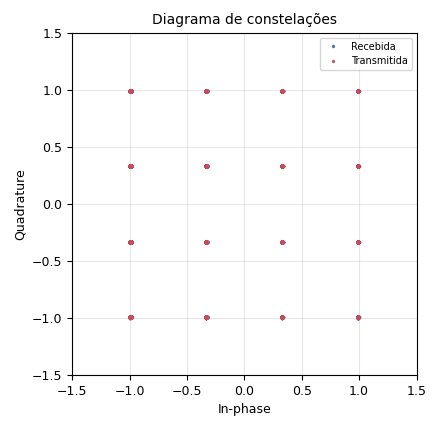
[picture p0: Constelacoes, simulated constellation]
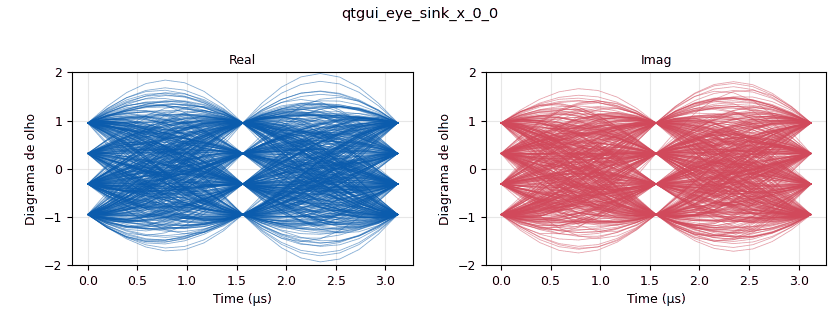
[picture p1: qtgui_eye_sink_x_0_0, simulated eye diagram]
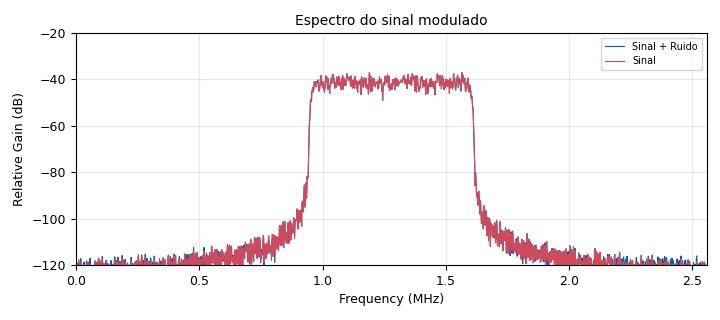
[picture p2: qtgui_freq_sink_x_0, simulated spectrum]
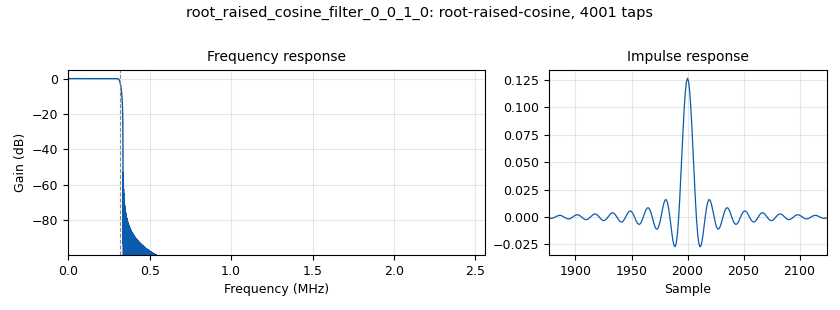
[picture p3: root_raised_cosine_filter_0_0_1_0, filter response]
options:
  parameters:
    author: Edson Porto da Silva
    copyright: '2023'
    generate_options: qt_gui
    id: top_block
    output_language: python
    title: Transmissão digital num canal AWGN
  states: {}

blocks:
- name: M
  id: variable
  parameters:
    value: '16'
  states: {}
- name: Pn
  id: variable_qtgui_range
  parameters:
    gui_hint: 3,0,1,2
    label: Potência de ruído (dBm)
    min_len: '400'
    start: '-100'
    step: '1'
    stop: '0'
    value: '-50'
  states: {}
- name: RRCrolloff
  id: variable
  parameters:
    value: '0.05'
  states: {}
- name: constellation
  id: variable_constellation
  parameters:
    precision: '8'
    type: 16qam
  states: {}
- name: fc
  id: variable_qtgui_range
  parameters:
    label: Frequencia da portadora
    min_len: '400'
    start: samp_rate/16
    step: '10'
    stop: samp_rate/2
    value: samp_rate/4
  states: {}
- name: gain
  id: variable_qtgui_range
  parameters:
    label: Ganho no sinal
    min_len: '400'
    start: '0.01'
    step: '0.01'
    stop: '100'
    value: '1'
  states: {}
- name: samp_rate
  id: variable
  parameters:
    value: '5120000'
  states: {}
- name: sps
  id: variable
  parameters:
    value: '8'
  states: {}
- name: Constelacoes
  id: qtgui_const_sink_x
  parameters:
    grid: 'True'
    gui_hint: 0,1,1,1
    label1: Recebida
    label2: Transmitida
    name: Diagrama de constelações
    nconnections: '2'
    size: '4096'
    type: complex
    update_time: '0.05'
    xmax: '1.5'
    xmin: '-1.5'
    ymax: '1.5'
    ymin: '-1.5'
  states: {}
- name: analog_agc_xx_0
  id: analog_agc_xx
  parameters:
    gain: '1.0'
    max_gain: '65536'
    rate: '1e-5'
    reference: '1'
    type: complex
  states: {}
- name: analog_agc_xx_0_0
  id: analog_agc_xx
  parameters:
    gain: '1.0'
    max_gain: '65536'
    rate: '1e-5'
    reference: '1'
    type: complex
  states: {}
- name: analog_noise_source_x_0
  id: analog_noise_source_x
  parameters:
    amp: numpy.sqrt(10**(Pn/10)*1e-3/2)
    noise_type: analog.GR_GAUSSIAN
    seed: '0'
    type: float
  states: {}
- name: analog_random_source_x_1
  id: analog_random_source_x
  parameters:
    max: '256'
    min: '0'
    num_samps: '10000'
    repeat: 'True'
    type: byte
  states: {}
- name: analog_sig_source_x_0
  id: analog_sig_source_x
  parameters:
    amp: '1'
    freq: fc
    offset: '0'
    phase: '0'
    samp_rate: samp_rate
    type: complex
    waveform: analog.GR_COS_WAVE
  states: {}
- name: analog_sig_source_x_0_0
  id: analog_sig_source_x
  parameters:
    amp: '1'
    freq: fc
    offset: '0'
    phase: '0'
    samp_rate: samp_rate
    type: complex
    waveform: analog.GR_COS_WAVE
  states: {}
- name: blocks_add_xx_0_0
  id: blocks_add_xx
  parameters:
    type: float
  states: {}
- name: blocks_add_xx_0_0_0
  id: blocks_add_xx
  parameters:
    type: float
  states: {}
- name: blocks_char_to_float_0
  id: blocks_char_to_float
  parameters:
    scale: '1'
  states: {}
- name: blocks_complex_to_imag_0
  id: blocks_complex_to_imag
  parameters: {}
  states: {}
- name: blocks_complex_to_imag_0_0
  id: blocks_complex_to_imag
  parameters: {}
  states: {}
- name: blocks_complex_to_imag_0_1
  id: blocks_complex_to_imag
  parameters: {}
  states: {}
- name: blocks_complex_to_mag_squared_2
  id: blocks_complex_to_mag_squared
  parameters: {}
  states: {}
- name: blocks_complex_to_mag_squared_2_0
  id: blocks_complex_to_mag_squared
  parameters: {}
  states: {}
- name: blocks_complex_to_mag_squared_2_0_0
  id: blocks_complex_to_mag_squared
  parameters: {}
  states: {}
- name: blocks_complex_to_real_0
  id: blocks_complex_to_real
  parameters: {}
  states: {}
- name: blocks_complex_to_real_0_0
  id: blocks_complex_to_real
  parameters: {}
  states: {}
- name: blocks_complex_to_real_0_0_0
  id: blocks_complex_to_real
  parameters: {}
  states: {}
- name: blocks_divide_xx_0
  id: blocks_divide_xx
  parameters:
    type: complex
  states: {}
- name: blocks_float_to_complex_0
  id: blocks_float_to_complex
  parameters: {}
  states: {}
- name: blocks_moving_average_xx_0
  id: blocks_moving_average_xx
  parameters:
    length: '20000'
    max_iter: '4000'
    scale: '1'
    type: float
  states: {}
- name: blocks_moving_average_xx_0_0
  id: blocks_moving_average_xx
  parameters:
    length: '20000'
    max_iter: '4000'
    scale: '1'
    type: float
  states: {}
- name: blocks_moving_average_xx_0_0_0
  id: blocks_moving_average_xx
  parameters:
    length: '20000'
    max_iter: '4000'
    scale: 1/20000
    type: float
  states: {}
- name: blocks_moving_average_xx_0_1
  id: blocks_moving_average_xx
  parameters:
    length: '1000000'
    max_iter: '50000'
    scale: 1/(8*1000000)
    type: float
  states: {}
- name: blocks_moving_average_xx_1
  id: blocks_moving_average_xx
  parameters:
    length: '1000'
    max_iter: '4000'
    scale: 1/1000
    type: complex
  states: {}
- name: blocks_multiply_const_vxx_0
  id: blocks_multiply_const_vxx
  parameters:
    const: numpy.log2(M)/1.2589
    type: float
  states: {}
- name: blocks_multiply_const_vxx_1
  id: blocks_multiply_const_vxx
  parameters:
    const: gain
    type: complex
  states: {}
- name: blocks_multiply_xx_0
  id: blocks_multiply_xx
  parameters:
    type: float
  states: {}
- name: blocks_multiply_xx_0_0
  id: blocks_multiply_xx
  parameters:
    type: float
  states: {}
- name: blocks_multiply_xx_0_1
  id: blocks_multiply_xx
  parameters:
    type: float
  states: {}
- name: blocks_multiply_xx_0_1_0
  id: blocks_multiply_xx
  parameters:
    type: float
  states: {}
- name: blocks_multiply_xx_1_0
  id: blocks_multiply_xx
  parameters:
    type: complex
  states: {}
- name: blocks_nlog10_ff_0_0
  id: blocks_nlog10_ff
  parameters:
    k: '0'
    n: '10'
  states: {}
- name: blocks_nlog10_ff_0_1
  id: blocks_nlog10_ff
  parameters:
    k: '0'
    n: '10'
  states: {}
- name: blocks_nlog10_ff_0_1_0
  id: blocks_nlog10_ff
  parameters:
    k: '30'
    n: '10'
  states: {}
- name: blocks_sub_xx_0
  id: blocks_sub_xx
  parameters:
    type: float
  states: {}
- name: blocks_sub_xx_0_0
  id: blocks_sub_xx
  parameters:
    type: complex
  states: {}
- name: blocks_throttle_0
  id: blocks_throttle
  parameters:
    samples_per_second: samp_rate
    type: complex
  states: {}
- name: blocks_transcendental_0
  id: blocks_transcendental
  parameters:
    name: tanh
    type: float
  states: {}
- name: blocks_xor_xx_0
  id: blocks_xor_xx
  parameters:
    type: byte
  states: {}
- name: digital_constellation_decoder_cb_0
  id: digital_constellation_decoder_cb
  parameters:
    constellation: constellation
  states: {}
- name: digital_constellation_decoder_cb_0_0
  id: digital_constellation_decoder_cb
  parameters:
    constellation: constellation
  states: {}
- name: digital_constellation_modulator_0
  id: digital_constellation_modulator
  parameters:
    constellation: constellation
    differential: 'True'
    excess_bw: RRCrolloff
    samples_per_symbol: sps
  states: {}
- name: qtgui_eye_sink_x_0_0
  id: qtgui_eye_sink_x
  parameters:
    color2: red
    ctrlpanel: 'True'
    entags: 'False'
    grid: 'True'
    gui_hint: 0,0,1,1
    label1: Real
    label2: Imag
    samp_per_symbol: sps
    size: 1024*8
    srate: samp_rate
    type: complex
    ylabel: Diagrama de olho
    ymax: '2'
    ymin: '-2'
  states: {}
- name: qtgui_freq_sink_x_0
  id: qtgui_freq_sink_x
  parameters:
    average: '0.2'
    bw: samp_rate
    fc: '0'
    fftsize: '4096'
    freqhalf: 'False'
    grid: 'True'
    gui_hint: 1,0,2,1
    label1: Sinal + Ruido
    label2: 'Sinal '
    name: Espectro do sinal modulado
    nconnections: '2'
    showports: 'True'
    type: float
    ymax: '-20'
    ymin: '-120'
  states: {}
- name: qtgui_number_sink_0
  id: qtgui_number_sink
  parameters:
    avg: '0.1'
    color1: ("white", "black")
    graph_type: qtgui.NUM_GRAPH_NONE
    gui_hint: 2,1,1,1
    label1: 'SNR por bit [Eb/N0] '
    label2: Nível de sinal (dBm)
    name: ''
    nconnections: '2'
    type: float
    unit1: dB
  states: {}
- name: qtgui_number_sink_1
  id: qtgui_number_sink
  parameters:
    graph_type: qtgui.NUM_GRAPH_NONE
    gui_hint: 1,1,1,1
    label1: BER
    max: '0.5'
    min: '0'
    name: Taxa de erro de bit [Bit error rate (BER)]
    type: float
  states: {}
- name: root_raised_cosine_filter_0_0_1_0
  id: root_raised_cosine_filter
  parameters:
    alpha: RRCrolloff
    decim: sps
    gain: '1'
    ntaps: '4001'
    samp_rate: samp_rate
    sym_rate: samp_rate/sps
    type: fir_filter_ccf
  states: {}
- name: root_raised_cosine_filter_0_0_1_0_0
  id: root_raised_cosine_filter
  parameters:
    alpha: RRCrolloff
    decim: '1'
    gain: '1'
    ntaps: '4001'
    samp_rate: samp_rate
    sym_rate: samp_rate/sps
    type: fir_filter_ccf
  states: {}
- name: root_raised_cosine_filter_0_0_1_0_1
  id: root_raised_cosine_filter
  parameters:
    alpha: RRCrolloff
    decim: sps
    gain: '1'
    ntaps: '4001'
    samp_rate: samp_rate
    sym_rate: samp_rate/sps
    type: fir_filter_ccf
  states: {}
- name: root_raised_cosine_filter_0_0_1_1
  id: root_raised_cosine_filter
  parameters:
    alpha: RRCrolloff
    decim: sps
    gain: '1'
    ntaps: '4001'
    samp_rate: samp_rate
    sym_rate: samp_rate/sps
    type: fir_filter_ccf
  states: {}

connections:
- [analog_agc_xx_0, '0', blocks_divide_xx_0, '1']
- [analog_agc_xx_0, '0', blocks_multiply_xx_1_0, '0']
- [analog_agc_xx_0_0, '0', Constelacoes, '1']
- [analog_agc_xx_0_0, '0', blocks_divide_xx_0, '0']
- [analog_agc_xx_0_0, '0', blocks_sub_xx_0_0, '1']
- [analog_agc_xx_0_0, '0', digital_constellation_decoder_cb_0_0, '0']
- [analog_noise_source_x_0, '0', blocks_add_xx_0_0_0, '0']
- [analog_random_source_x_1, '0', digital_constellation_modulator_0, '0']
- [analog_sig_source_x_0, '0', blocks_complex_to_imag_0, '0']
- [analog_sig_source_x_0, '0', blocks_complex_to_real_0_0, '0']
- [analog_sig_source_x_0_0, '0', blocks_complex_to_imag_0_1, '0']
- [analog_sig_source_x_0_0, '0', blocks_complex_to_real_0_0_0, '0']
- [blocks_add_xx_0_0, '0', blocks_add_xx_0_0_0, '1']
- [blocks_add_xx_0_0, '0', qtgui_freq_sink_x_0, '1']
- [blocks_add_xx_0_0_0, '0', blocks_multiply_xx_0_1, '0']
- [blocks_add_xx_0_0_0, '0', blocks_multiply_xx_0_1_0, '0']
- [blocks_add_xx_0_0_0, '0', qtgui_freq_sink_x_0, '0']
- [blocks_char_to_float_0, '0', blocks_transcendental_0, '0']
- [blocks_complex_to_imag_0, '0', blocks_multiply_xx_0, '0']
- [blocks_complex_to_imag_0_0, '0', blocks_multiply_xx_0, '1']
- [blocks_complex_to_imag_0_1, '0', blocks_multiply_xx_0_1, '1']
- [blocks_complex_to_mag_squared_2, '0', blocks_multiply_const_vxx_0, '0']
- [blocks_complex_to_mag_squared_2_0, '0', blocks_moving_average_xx_0_0, '0']
- [blocks_complex_to_mag_squared_2_0_0, '0', blocks_moving_average_xx_0_0_0, '0']
- [blocks_complex_to_real_0, '0', blocks_multiply_xx_0_0, '1']
- [blocks_complex_to_real_0_0, '0', blocks_multiply_xx_0_0, '0']
- [blocks_complex_to_real_0_0_0, '0', blocks_multiply_xx_0_1_0, '1']
- [blocks_divide_xx_0, '0', blocks_moving_average_xx_1, '0']
- [blocks_float_to_complex_0, '0', root_raised_cosine_filter_0_0_1_1, '0']
- [blocks_moving_average_xx_0, '0', blocks_nlog10_ff_0_0, '0']
- [blocks_moving_average_xx_0_0, '0', blocks_nlog10_ff_0_1, '0']
- [blocks_moving_average_xx_0_0_0, '0', blocks_nlog10_ff_0_1_0, '0']
- [blocks_moving_average_xx_0_1, '0', qtgui_number_sink_1, '0']
- [blocks_moving_average_xx_1, '0', blocks_multiply_xx_1_0, '1']
- [blocks_multiply_const_vxx_0, '0', blocks_moving_average_xx_0, '0']
- [blocks_multiply_const_vxx_1, '0', blocks_complex_to_imag_0_0, '0']
- [blocks_multiply_const_vxx_1, '0', blocks_complex_to_real_0, '0']
- [blocks_multiply_const_vxx_1, '0', root_raised_cosine_filter_0_0_1_0, '0']
- [blocks_multiply_const_vxx_1, '0', root_raised_cosine_filter_0_0_1_0_1, '0']
- [blocks_multiply_xx_0, '0', blocks_add_xx_0_0, '0']
- [blocks_multiply_xx_0_0, '0', blocks_add_xx_0_0, '1']
- [blocks_multiply_xx_0_1, '0', blocks_float_to_complex_0, '1']
- [blocks_multiply_xx_0_1_0, '0', blocks_float_to_complex_0, '0']
- [blocks_multiply_xx_1_0, '0', Constelacoes, '0']
- [blocks_multiply_xx_1_0, '0', blocks_sub_xx_0_0, '0']
- [blocks_multiply_xx_1_0, '0', digital_constellation_decoder_cb_0, '0']
- [blocks_nlog10_ff_0_0, '0', blocks_sub_xx_0, '1']
- [blocks_nlog10_ff_0_1, '0', blocks_sub_xx_0, '0']
- [blocks_nlog10_ff_0_1_0, '0', qtgui_number_sink_0, '1']
- [blocks_sub_xx_0, '0', qtgui_number_sink_0, '0']
- [blocks_sub_xx_0_0, '0', blocks_complex_to_mag_squared_2, '0']
- [blocks_throttle_0, '0', blocks_multiply_const_vxx_1, '0']
- [blocks_throttle_0, '0', root_raised_cosine_filter_0_0_1_0_0, '0']
- [blocks_transcendental_0, '0', blocks_moving_average_xx_0_1, '0']
- [blocks_xor_xx_0, '0', blocks_char_to_float_0, '0']
- [digital_constellation_decoder_cb_0, '0', blocks_xor_xx_0, '1']
- [digital_constellation_decoder_cb_0_0, '0', blocks_xor_xx_0, '0']
- [digital_constellation_modulator_0, '0', blocks_throttle_0, '0']
- [root_raised_cosine_filter_0_0_1_0, '0', analog_agc_xx_0_0, '0']
- [root_raised_cosine_filter_0_0_1_0, '0', blocks_complex_to_mag_squared_2_0, '0']
- [root_raised_cosine_filter_0_0_1_0_0, '0', qtgui_eye_sink_x_0_0, '0']
- [root_raised_cosine_filter_0_0_1_0_1, '0', blocks_complex_to_mag_squared_2_0_0, '0']
- [root_raised_cosine_filter_0_0_1_1, '0', analog_agc_xx_0, '0']

metadata:
  file_format: 1
  grc_version: 3.10.7.0
